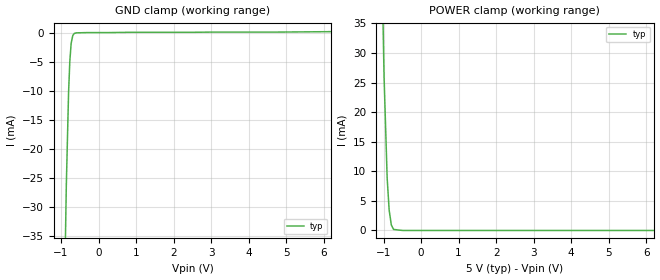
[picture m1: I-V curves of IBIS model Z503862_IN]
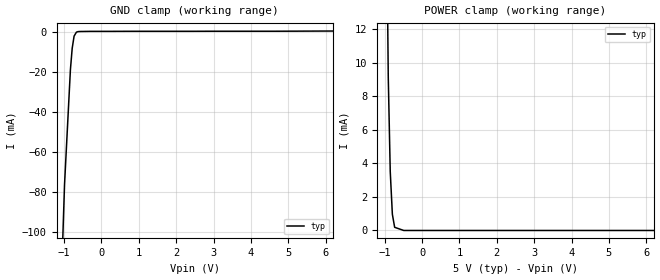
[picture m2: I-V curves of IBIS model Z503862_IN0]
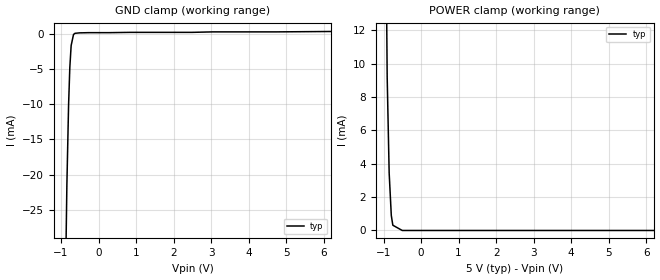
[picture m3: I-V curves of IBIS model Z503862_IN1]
| YOU ARE ONLY AUTHORIZED TO USE THIS SOFTWARE
| ACCORDING TO LICENSOR'S LICENSE RESTRICTIONS.
[IBIS Ver] 3.1
[File Name] mc74act521n.ibs
[File Rev] 2.0
[Source] Measured and created by ICX Technology
[Date] Friday 7/14/00 9:08:01 AM
[Copyright]
| (C) COPYRIGHT 1993-2000
| MENTOR GRAPHICS CORPORATION
| ICX STANDARD LIBRARY, ICX PROJECT MODELING,
| ICX CUSTOM MODELING, ICX VENDOR MODEL
| ALL RIGHTS RESERVED.
| THE FOLLOWING ARE TRADEMARKS OR SERVICE MARKS OF
| MENTOR GRAPHICS CORPORATION:ICX (R), ICX STANDARD
| LIBRARY(R), ICX PROJECT MODELING(R), ICX CUSTOM
| MODELING(R), qualityIBIS(TM), MODELVIEWER(TM),
| AND MODELEDITOR(TM)
| ALL COPIES OF SOFTWARE, INCLUDING BUT NOT LIMITED TO
| ANY MODIFICATIONS, ENHANCEMENTS OR DERIVATIVE WORKS,
| MUST CONTAIN ALL MENTOR GRAPHICS CORPORATION'S
| NOTICES AND LEGENDS, INCLUDING THOSE EMBEDDED IN
| SOFTWARE AND THOSE AFFIXED TO SOFTWARE MEDIUM
| AND CONTAINER, AS RECEIVED FROM MENTOR GRAPHICS
| CORPORATION.
|  ZAP Model Builder 2.7
[Component] MC74ACT521N
[Manufacturer] OnSemiconductor
[Package]
| variable   typ   min   max
R_pkg  .216ohms NA NA
L_pkg  5.76nH NA NA
C_pkg  1.29pF NA NA
[Pin] signal_name  model_name  R_pin  L_pin C_pin
1 _G Z503862_IN0 .232 9.76n 1.87p
2 P0 Z503862_IN .224 7.26n 1.58p
3 Q0 Z503862_IN1 .216 5.26n 1.29p
4 P1 Z503862_IN .208 3.76n 1.0p
5 Q1 Z503862_IN1 .2 2.76n .71p
6 P2 Z503862_IN .2 2.76n .71p
7 Q2 Z503862_IN1 .208 3.76n 1.0p
8 P3 Z503862_IN .216 5.26n 1.29p
9 Q3 Z503862_IN1 .224 7.26n 1.58p
10 GND GND .232 9.76n 1.87p
11 P4 Z503862_IN .232 9.76n 1.87p
12 Q4 Z503862_IN1 .224 7.26n 1.58p
13 P5 Z503862_IN .216 5.26n 1.29p
14 Q5 Z503862_IN1 .208 3.76n 1.0p
15 P6 Z503862_IN .2 2.76n .71p
16 Q6 Z503862_IN1 .2 2.76n .71p
17 P7 Z503862_IN .208 3.76n 1.0p
18 Q7 Z503862_IN1 .216 5.26n 1.29p
19 _P_EQ_Q Z503862_OUT .224 7.26n 1.58p
20 VCC POWER .232 9.76n 1.87p
| Models and submodels in the file (4): Z503862_IN (Input), Z503862_IN0 (Input), Z503862_IN1 (Input), Z503862_OUT (Output)
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| (C) COPYRIGHT 1993-2000
| MENTOR GRAPHICS CORPORATION
| ICX STANDARD LIBRARY, ICX PROJECT MODELING,
| ICX CUSTOM MODELING, ICX VENDOR MODEL
| ALL RIGHTS RESERVED.
| THE FOLLOWING ARE TRADEMARKS OR SERVICE MARKS OF
| MENTOR GRAPHICS CORPORATION:ICX (R), ICX STANDARD
| LIBRARY(R), ICX PROJECT MODELING(R), ICX CUSTOM
| MODELING(R), qualityIBIS(TM), MODELVIEWER(TM),
| AND MODELEDITOR(TM)
| ALL COPIES OF SOFTWARE, INCLUDING BUT NOT LIMITED TO
| ANY MODIFICATIONS, ENHANCEMENTS OR DERIVATIVE WORKS,
| MUST CONTAIN ALL MENTOR GRAPHICS CORPORATION'S
| NOTICES AND LEGENDS, INCLUDING THOSE EMBEDDED IN
| SOFTWARE AND THOSE AFFIXED TO SOFTWARE MEDIUM
| AND CONTAINER, AS RECEIVED FROM MENTOR GRAPHICS
| CORPORATION.
| Model Application Version 1.89 2/18/99.
[Model] Z503862_IN
Model_type Input
Vinl = 800.0mV
Vinh = 2.000V
C_comp 4.000pF NA NA
| variable typ   min   max
[Voltage Range] 5.000V NA NA
[GND Clamp Reference] 0.000V NA NA
[POWER Clamp Reference] 5.000V NA NA
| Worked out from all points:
|   GND clamp passes 1 mA (typ) near -0.71 V on its own axis
|   POWER clamp passes 1 mA (typ) near -0.79 V on its own axis
[GND Clamp]
-5V       -2.726A    NA         NA
-1.013V   -86.54mA   NA         NA
-859mV    -26.18mA   NA         NA
-798.7mV  -10.14mA   NA         NA
-766mV    -4.839mA   NA         NA
-730.3mV  -1.725mA   NA         NA
-686.8mV  -394.9uA   NA         NA
-648.1mV  -29.23uA   NA         NA
-295.2mV  120.6uA    NA         NA
10V       483.4uA    NA         NA
[POWER Clamp]
-5V       1.742A     NA         NA
-1.133V   75.4mA     NA         NA
-986mV    25.98mA    NA         NA
-903mV    8.809mA    NA         NA
-850mV    3.433mA    NA         NA
-792mV    923.4uA    NA         NA
-732mV    174.2uA    NA         NA
-488mV    0A         NA         NA
10V       0A         NA         NA
| (C) COPYRIGHT 1993-2000
| MENTOR GRAPHICS CORPORATION
| ICX STANDARD LIBRARY, ICX PROJECT MODELING,
| ICX CUSTOM MODELING, ICX VENDOR MODEL
| ALL RIGHTS RESERVED.
| THE FOLLOWING ARE TRADEMARKS OR SERVICE MARKS OF
| MENTOR GRAPHICS CORPORATION:ICX (R), ICX STANDARD
| LIBRARY(R), ICX PROJECT MODELING(R), ICX CUSTOM
| MODELING(R), qualityIBIS(TM), MODELVIEWER(TM),
| AND MODELEDITOR(TM)
| ALL COPIES OF SOFTWARE, INCLUDING BUT NOT LIMITED TO
| ANY MODIFICATIONS, ENHANCEMENTS OR DERIVATIVE WORKS,
| MUST CONTAIN ALL MENTOR GRAPHICS CORPORATION'S
| NOTICES AND LEGENDS, INCLUDING THOSE EMBEDDED IN
| SOFTWARE AND THOSE AFFIXED TO SOFTWARE MEDIUM
| AND CONTAINER, AS RECEIVED FROM MENTOR GRAPHICS
| CORPORATION.
| Model Application Version 1.89 2/18/99.
[Model] Z503862_IN0
Model_type Input
Vinl = 800.0mV
Vinh = 2.000V
C_comp 4.000pF NA NA
| variable typ   min   max
[Voltage Range] 5.000V NA NA
[GND Clamp Reference] 0.000V NA NA
[POWER Clamp Reference] 5.000V NA NA
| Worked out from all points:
|   GND clamp passes 1 mA (typ) near -0.69 V on its own axis
|   POWER clamp passes 1 mA (typ) near -0.79 V on its own axis
[GND Clamp]
-5V       -2.812A    NA         NA
-1.073V   -126.4mA   NA         NA
-985.8mV  -76.39mA   NA         NA
-828.8mV  -19.08mA   NA         NA
-780.9mV  -8.329mA   NA         NA
-730.1mV  -2.243mA   NA         NA
-667.4mV  -261.7uA   NA         NA
-628.1mV  637.2nA    NA         NA
10V       545uA      NA         NA
[POWER Clamp]
-5V       1.785A     NA         NA
-1.132V   76.5mA     NA         NA
-1.001V   31.01mA    NA         NA
-903mV    9.162mA    NA         NA
-850mV    3.522mA    NA         NA
-793mV    966uA      NA         NA
-732mV    188.8uA    NA         NA
-488mV    0A         NA         NA
10V       0A         NA         NA
| (C) COPYRIGHT 1993-2000
| MENTOR GRAPHICS CORPORATION
| ICX STANDARD LIBRARY, ICX PROJECT MODELING,
| ICX CUSTOM MODELING, ICX VENDOR MODEL
| ALL RIGHTS RESERVED.
| THE FOLLOWING ARE TRADEMARKS OR SERVICE MARKS OF
| MENTOR GRAPHICS CORPORATION:ICX (R), ICX STANDARD
| LIBRARY(R), ICX PROJECT MODELING(R), ICX CUSTOM
| MODELING(R), qualityIBIS(TM), MODELVIEWER(TM),
| AND MODELEDITOR(TM)
| ALL COPIES OF SOFTWARE, INCLUDING BUT NOT LIMITED TO
| ANY MODIFICATIONS, ENHANCEMENTS OR DERIVATIVE WORKS,
| MUST CONTAIN ALL MENTOR GRAPHICS CORPORATION'S
| NOTICES AND LEGENDS, INCLUDING THOSE EMBEDDED IN
| SOFTWARE AND THOSE AFFIXED TO SOFTWARE MEDIUM
| AND CONTAINER, AS RECEIVED FROM MENTOR GRAPHICS
| CORPORATION.
| Model Application Version 1.89 2/18/99.
[Model] Z503862_IN1
Model_type Input
Vinl = 800.0mV
Vinh = 2.000V
C_comp 4.000pF NA NA
| variable typ   min   max
[Voltage Range] 5.000V NA NA
[GND Clamp Reference] 0.000V NA NA
[POWER Clamp Reference] 5.000V NA NA
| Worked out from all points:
|   GND clamp passes 1 mA (typ) near -0.70 V on its own axis
|   POWER clamp passes 1 mA (typ) near -0.80 V on its own axis
[GND Clamp]
-5V       -2.594A    NA         NA
-1.001V   -79.56mA   NA         NA
-844.3mV  -21.46mA   NA         NA
-798.7mV  -10.1mA    NA         NA
-765.9mV  -4.82mA    NA         NA
-730.5mV  -1.703mA   NA         NA
-667.4mV  -141.7uA   NA         NA
-628mV    26.96uA    NA         NA
10V       429.8uA    NA         NA
[POWER Clamp]
-5V       2.378A     NA         NA
-1.133V   93.97mA    NA         NA
-1.012V   38.84mA    NA         NA
-903mV    9.222mA    NA         NA
-850mV    3.455mA    NA         NA
-793mV    896.9uA    NA         NA
-752mV    314.7uA    NA         NA
-501.3mV  0A         NA         NA
10V       0A         NA         NA
